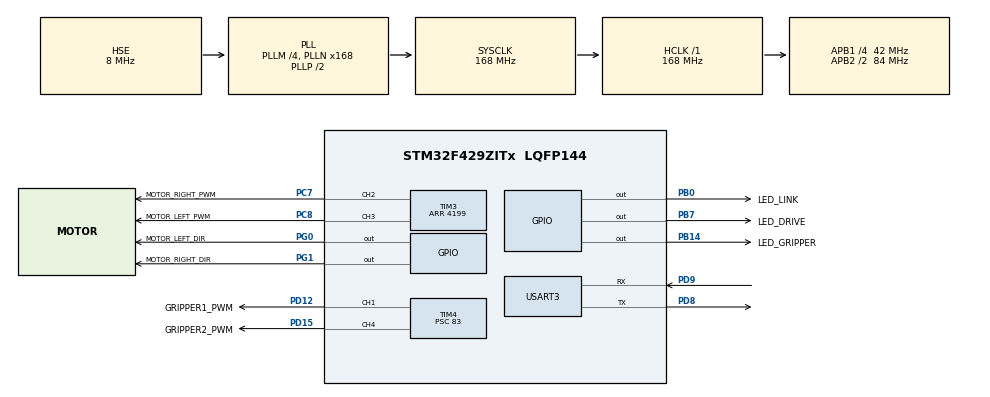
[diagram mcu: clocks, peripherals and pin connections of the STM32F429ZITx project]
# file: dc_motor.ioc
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Mcu.Family=STM32F4
Mcu.Name=STM32F429ZITx
Mcu.Package=LQFP144
NVIC.PriorityGroup=NVIC_PRIORITYGROUP_4
NVIC.TIM3_IRQn=true\:0\:0\:false\:false\:true\:true\:true\:true
NVIC.USART3_IRQn=true\:0\:0\:false\:false\:true\:true\:true\:true
PB0.GPIO_Label=LED_LINK
PB0.Signal=GPIO_Output
PB14.GPIO_Label=LED_GRIPPER
PB14.Signal=GPIO_Output
PB7.GPIO_Label=LED_DRIVE
PB7.Signal=GPIO_Output
PC7.GPIO_Label=MOTOR_RIGHT_PWM
PC7.Signal=S_TIM3_CH2
PC8.GPIO_Label=MOTOR_LEFT_PWM
PC8.Signal=S_TIM3_CH3
PD12.GPIO_Label=GRIPPER1_PWM
PD12.Signal=S_TIM4_CH1
PD15.GPIO_Label=GRIPPER2_PWM
PD15.Signal=S_TIM4_CH4
PD8.Mode=Asynchronous
PD8.Signal=USART3_TX
PD9.Mode=Asynchronous
PD9.Signal=USART3_RX
PG0.GPIO_Label=MOTOR_LEFT_DIR
PG0.Signal=GPIO_Output
PG1.GPIO_Label=MOTOR_RIGHT_DIR
PG1.Signal=GPIO_Output
PH0/OSC_IN.Mode=HSE-External-Clock-Source
PH0/OSC_IN.Signal=RCC_OSC_IN
PH1/OSC_OUT.Mode=HSE-External-Clock-Source
PH1/OSC_OUT.Signal=RCC_OSC_OUT
ProjectManager.HeapSize=0x200
ProjectManager.StackSize=0x400
ProjectManager.TargetToolchain=STM32CubeIDE
RCC.48MHZClocksFreq_Value=84000000
RCC.AHBFreq_Value=168000000
RCC.APB1CLKDivider=RCC_HCLK_DIV4
RCC.APB1Freq_Value=42000000
RCC.APB1TimFreq_Value=84000000
RCC.APB2CLKDivider=RCC_HCLK_DIV2
RCC.APB2Freq_Value=84000000
RCC.APB2TimFreq_Value=168000000
RCC.CortexFreq_Value=168000000
RCC.HCLKFreq_Value=168000000
RCC.HSE_VALUE=8000000
RCC.HSI_VALUE=16000000
RCC.LSE_VALUE=32768
RCC.PLLM=4
RCC.PLLN=168
RCC.PLLSourceVirtual=RCC_PLLSOURCE_HSE
RCC.SYSCLKFreq_VALUE=168000000
RCC.SYSCLKSource=RCC_SYSCLKSOURCE_PLLCLK
RCC.VCOOutputFreq_Value=336000000
SH.S_TIM3_CH2.0=TIM3_CH2,PWM Generation2 CH2
SH.S_TIM3_CH3.0=TIM3_CH3,PWM Generation3 CH3
SH.S_TIM4_CH1.0=TIM4_CH1,PWM Generation1 CH1
SH.S_TIM4_CH4.0=TIM4_CH4,PWM Generation4 CH4
TIM3.Channel-PWM\ Generation2\ CH2=TIM_CHANNEL_2
TIM3.Channel-PWM\ Generation3\ CH3=TIM_CHANNEL_3
TIM3.Period=4199
TIM4.Channel-PWM\ Generation1\ CH1=TIM_CHANNEL_1
TIM4.Channel-PWM\ Generation4\ CH4=TIM_CHANNEL_4
TIM4.Period=19999
TIM4.Prescaler=83
USART3.VirtualMode=VM_ASYNC
VP_TIM3_VS_ClockSourceINT.Mode=Internal
VP_TIM4_VS_ClockSourceINT.Mode=Internal
board=custom

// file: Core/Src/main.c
/* USER CODE BEGIN Header */
/**
  ******************************************************************************
  * @file           : main.c
  * @brief          : Main program body
  ******************************************************************************
  * @attention
  *
  * Copyright (c) 2026 STMicroelectronics.
  * All rights reserved.
  *
  * This software is licensed under terms that can be found in the LICENSE file
  * in the root directory of this software component.
  * If no LICENSE file comes with this software, it is provided AS-IS.
  *
  ******************************************************************************
  */
/* USER CODE END Header */
#include "main.h"

/* USER CODE BEGIN Includes */
#include "command_receiver.h"
#include "status_led.h"
#include "motor_driver.h"
#include "drive_controller.h"
#include "gripper_servo.h"
#include "gripper_controller.h"
/* USER CODE END Includes */

TIM_HandleTypeDef htim3;
TIM_HandleTypeDef htim4;

UART_HandleTypeDef huart3;

void SystemClock_Config(void);
static void MX_GPIO_Init(void);
static void MX_USART3_UART_Init(void);
static void MX_TIM3_Init(void);
static void MX_TIM4_Init(void);

int main(void)
{

  /* MCU Configuration--------------------------------------------------------*/

  /* Reset of all peripherals, Initializes the Flash interface and the Systick. */
  HAL_Init();

  /* Configure the system clock */
  SystemClock_Config();

  /* Initialize all configured peripherals */
  MX_GPIO_Init();
  MX_USART3_UART_Init();
  MX_TIM3_Init();
  MX_TIM4_Init();
  /* USER CODE BEGIN 2 */
  StatusLed_Init();
  CommandReceiver_Init(&huart3);

  if (MotorDriver_Init(&htim3) != HAL_OK)
  {
      Error_Handler();
  }

  DriveController_Init();

  if (GripperServo_Init(&htim4) != HAL_OK)
  {
      Error_Handler();
  }
  GripperController_Init();
  /* USER CODE END 2 */

  /* Infinite loop */
  /* USER CODE BEGIN WHILE */
  while (1)
  {
	  uint32_t now = HAL_GetTick();
	  bool link_ok;
	  uint8_t buttons;

	  link_ok = !CommandReceiver_IsTimedOut(
	      now,
	      200U
	  );

	  if (link_ok)
	  {
	      buttons = CommandReceiver_GetButtons();
	  }
	  else
	  {
	      buttons = 0U;
	  }

	  DriveController_Update(
	      buttons,
	      link_ok
	  );

	  GripperController_Update(
	      buttons,
	      link_ok
	  );

	  StatusLed_Update(buttons, link_ok);
    /* USER CODE END WHILE */

  }
}

void SystemClock_Config(void)
{
  RCC_OscInitTypeDef RCC_OscInitStruct = {0};
  RCC_ClkInitTypeDef RCC_ClkInitStruct = {0};

  /** Configure the main internal regulator output voltage
  */
  __HAL_RCC_PWR_CLK_ENABLE();
  __HAL_PWR_VOLTAGESCALING_CONFIG(PWR_REGULATOR_VOLTAGE_SCALE1);

  /** Initializes the RCC Oscillators according to the specified parameters
  * in the RCC_OscInitTypeDef structure.
  */
  RCC_OscInitStruct.OscillatorType = RCC_OSCILLATORTYPE_HSE;
  RCC_OscInitStruct.HSEState = RCC_HSE_BYPASS;
  RCC_OscInitStruct.PLL.PLLState = RCC_PLL_ON;
  RCC_OscInitStruct.PLL.PLLSource = RCC_PLLSOURCE_HSE;
  RCC_OscInitStruct.PLL.PLLM = 4;
  RCC_OscInitStruct.PLL.PLLN = 168;
  RCC_OscInitStruct.PLL.PLLP = RCC_PLLP_DIV2;
  RCC_OscInitStruct.PLL.PLLQ = 4;
  if (HAL_RCC_OscConfig(&RCC_OscInitStruct) != HAL_OK)
  {
    Error_Handler();
  }

  /** Initializes the CPU, AHB and APB buses clocks
  */
  RCC_ClkInitStruct.ClockType = RCC_CLOCKTYPE_HCLK|RCC_CLOCKTYPE_SYSCLK
                              |RCC_CLOCKTYPE_PCLK1|RCC_CLOCKTYPE_PCLK2;
  RCC_ClkInitStruct.SYSCLKSource = RCC_SYSCLKSOURCE_PLLCLK;
  RCC_ClkInitStruct.AHBCLKDivider = RCC_SYSCLK_DIV1;
  RCC_ClkInitStruct.APB1CLKDivider = RCC_HCLK_DIV4;
  RCC_ClkInitStruct.APB2CLKDivider = RCC_HCLK_DIV2;

  if (HAL_RCC_ClockConfig(&RCC_ClkInitStruct, FLASH_LATENCY_5) != HAL_OK)
  {
    Error_Handler();
  }
}

static void MX_TIM3_Init(void)
{

  TIM_ClockConfigTypeDef sClockSourceConfig = {0};
  TIM_MasterConfigTypeDef sMasterConfig = {0};
  TIM_OC_InitTypeDef sConfigOC = {0};

  htim3.Instance = TIM3;
  htim3.Init.Prescaler = 0;
  htim3.Init.CounterMode = TIM_COUNTERMODE_UP;
  htim3.Init.Period = 4199;
  htim3.Init.ClockDivision = TIM_CLOCKDIVISION_DIV1;
  htim3.Init.AutoReloadPreload = TIM_AUTORELOAD_PRELOAD_DISABLE;
  if (HAL_TIM_Base_Init(&htim3) != HAL_OK)
  {
    Error_Handler();
  }
  sClockSourceConfig.ClockSource = TIM_CLOCKSOURCE_INTERNAL;
  if (HAL_TIM_ConfigClockSource(&htim3, &sClockSourceConfig) != HAL_OK)
  {
    Error_Handler();
  }
  if (HAL_TIM_PWM_Init(&htim3) != HAL_OK)
  {
    Error_Handler();
  }
  sMasterConfig.MasterOutputTrigger = TIM_TRGO_RESET;
  sMasterConfig.MasterSlaveMode = TIM_MASTERSLAVEMODE_DISABLE;
  if (HAL_TIMEx_MasterConfigSynchronization(&htim3, &sMasterConfig) != HAL_OK)
  {
    Error_Handler();
  }
  sConfigOC.OCMode = TIM_OCMODE_PWM1;
  sConfigOC.Pulse = 0;
  sConfigOC.OCPolarity = TIM_OCPOLARITY_HIGH;
  sConfigOC.OCFastMode = TIM_OCFAST_DISABLE;
  if (HAL_TIM_PWM_ConfigChannel(&htim3, &sConfigOC, TIM_CHANNEL_2) != HAL_OK)
  {
    Error_Handler();
  }
  if (HAL_TIM_PWM_ConfigChannel(&htim3, &sConfigOC, TIM_CHANNEL_3) != HAL_OK)
  {
    Error_Handler();
  }
  HAL_TIM_MspPostInit(&htim3);

}

static void MX_TIM4_Init(void)
{

  TIM_ClockConfigTypeDef sClockSourceConfig = {0};
  TIM_MasterConfigTypeDef sMasterConfig = {0};
  TIM_OC_InitTypeDef sConfigOC = {0};

  htim4.Instance = TIM4;
  htim4.Init.Prescaler = 83;
  htim4.Init.CounterMode = TIM_COUNTERMODE_UP;
  htim4.Init.Period = 19999;
  htim4.Init.ClockDivision = TIM_CLOCKDIVISION_DIV1;
  htim4.Init.AutoReloadPreload = TIM_AUTORELOAD_PRELOAD_DISABLE;
  if (HAL_TIM_Base_Init(&htim4) != HAL_OK)
  {
    Error_Handler();
  }
  sClockSourceConfig.ClockSource = TIM_CLOCKSOURCE_INTERNAL;
  if (HAL_TIM_ConfigClockSource(&htim4, &sClockSourceConfig) != HAL_OK)
  {
    Error_Handler();
  }
  if (HAL_TIM_PWM_Init(&htim4) != HAL_OK)
  {
    Error_Handler();
  }
  sMasterConfig.MasterOutputTrigger = TIM_TRGO_RESET;
  sMasterConfig.MasterSlaveMode = TIM_MASTERSLAVEMODE_DISABLE;
  if (HAL_TIMEx_MasterConfigSynchronization(&htim4, &sMasterConfig) != HAL_OK)
  {
    Error_Handler();
  }
  sConfigOC.OCMode = TIM_OCMODE_PWM1;
  sConfigOC.Pulse = 0;
  sConfigOC.OCPolarity = TIM_OCPOLARITY_HIGH;
  sConfigOC.OCFastMode = TIM_OCFAST_DISABLE;
  if (HAL_TIM_PWM_ConfigChannel(&htim4, &sConfigOC, TIM_CHANNEL_1) != HAL_OK)
  {
    Error_Handler();
  }
  if (HAL_TIM_PWM_ConfigChannel(&htim4, &sConfigOC, TIM_CHANNEL_4) != HAL_OK)
  {
    Error_Handler();
  }
  HAL_TIM_MspPostInit(&htim4);

}

static void MX_USART3_UART_Init(void)
{

  huart3.Instance = USART3;
  huart3.Init.BaudRate = 115200;
  huart3.Init.WordLength = UART_WORDLENGTH_8B;
  huart3.Init.StopBits = UART_STOPBITS_1;
  huart3.Init.Parity = UART_PARITY_NONE;
  huart3.Init.Mode = UART_MODE_TX_RX;
  huart3.Init.HwFlowCtl = UART_HWCONTROL_NONE;
  huart3.Init.OverSampling = UART_OVERSAMPLING_16;
  if (HAL_UART_Init(&huart3) != HAL_OK)
  {
    Error_Handler();
  }

}

static void MX_GPIO_Init(void)
{
  GPIO_InitTypeDef GPIO_InitStruct = {0};

  /* GPIO Ports Clock Enable */
  __HAL_RCC_GPIOH_CLK_ENABLE();
  __HAL_RCC_GPIOB_CLK_ENABLE();
  __HAL_RCC_GPIOG_CLK_ENABLE();
  __HAL_RCC_GPIOD_CLK_ENABLE();
  __HAL_RCC_GPIOC_CLK_ENABLE();

  /*Configure GPIO pin Output Level */
  HAL_GPIO_WritePin(GPIOB, LED_LINK_Pin|LED_GRIPPER_Pin|LED_DRIVE_Pin, GPIO_PIN_RESET);

  /*Configure GPIO pin Output Level */
  HAL_GPIO_WritePin(GPIOG, MOTOR_LEFT_DIR_Pin|MOTOR_RIGHT_DIR_Pin, GPIO_PIN_RESET);

  /*Configure GPIO pins : LED_LINK_Pin LED_GRIPPER_Pin LED_DRIVE_Pin */
  GPIO_InitStruct.Pin = LED_LINK_Pin|LED_GRIPPER_Pin|LED_DRIVE_Pin;
  GPIO_InitStruct.Mode = GPIO_MODE_OUTPUT_PP;
  GPIO_InitStruct.Pull = GPIO_NOPULL;
  GPIO_InitStruct.Speed = GPIO_SPEED_FREQ_LOW;
  HAL_GPIO_Init(GPIOB, &GPIO_InitStruct);

  /*Configure GPIO pins : MOTOR_LEFT_DIR_Pin MOTOR_RIGHT_DIR_Pin */
  GPIO_InitStruct.Pin = MOTOR_LEFT_DIR_Pin|MOTOR_RIGHT_DIR_Pin;
  GPIO_InitStruct.Mode = GPIO_MODE_OUTPUT_PP;
  GPIO_InitStruct.Pull = GPIO_NOPULL;
  GPIO_InitStruct.Speed = GPIO_SPEED_FREQ_LOW;
  HAL_GPIO_Init(GPIOG, &GPIO_InitStruct);

}

/* USER CODE BEGIN 4 */
void HAL_UART_RxCpltCallback(
    UART_HandleTypeDef *huart
)
{
    CommandReceiver_HandleRxComplete(huart);
}

void HAL_UART_ErrorCallback(
    UART_HandleTypeDef *huart
)
{
    CommandReceiver_HandleError(huart);
}
/* USER CODE END 4 */

void Error_Handler(void)
{
  __disable_irq();
  while (1)
  {
  }
}
